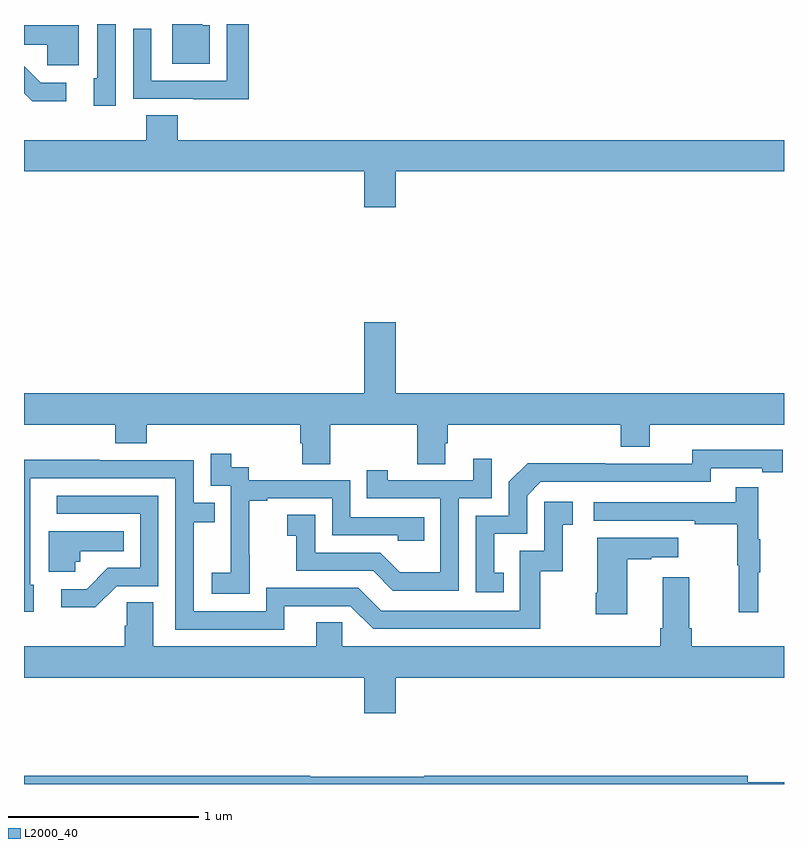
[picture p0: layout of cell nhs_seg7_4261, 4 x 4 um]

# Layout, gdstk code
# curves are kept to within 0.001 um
import gdstk
lib = gdstk.Library(unit=1e-6, precision=1e-09)
def P(c, l, *ps):  # polygons
    for p in ps: c.add(gdstk.Polygon(p, *l))
L2000_40 = (2000, 40)

nhs_seg7_4261 = lib.new_cell('nhs_seg7_4261')
P(nhs_seg7_4261, L2000_40, [(379.482,1060),(379.386,1060),(379.386,1059.714),(379.367,1059.714),(379.367,1059.57),(379.482,1059.57)],
  [(380.183,1060),(380.067,1060),(380.067,1059.702),(379.671,1059.702),(379.671,1059.976),(379.575,1059.976),(379.575,1059.606),(379.891,1059.606),(379.891,1059.605),(380.183,1059.605)],
  [(379.978,1059.994),(379.939,1059.994),(379.939,1060),(379.781,1060),(379.781,1059.791),(379.978,1059.791)],
  [(379.288,1059.994),(379,1059.994),(379,1059.89),(379.123,1059.89),(379.123,1059.782),(379.288,1059.782)],
  [(379.222,1059.69),(379.087,1059.69),(379,1059.777),(379,1059.636),(379.043,1059.593),(379.222,1059.593)],
  [(380.956,1059.224),(383,1059.224),(383,1059.388),(379.808,1059.388),(379.808,1059.521),(379.643,1059.521),(379.643,1059.388),(379,1059.388),(379,1059.224),(380.792,1059.224),(380.792,1059.036),(380.956,1059.036)],
  [(380.613,1057.892),(381.07,1057.892),(381.07,1057.684),(381.217,1057.684),(381.217,1057.794),(381.23,1057.794),(381.23,1057.892),(382.142,1057.892),(382.142,1057.775),(382.294,1057.775),(382.294,1057.892),(383,1057.892),(383,1058.056),(380.956,1058.056),(380.956,1058.431),(380.792,1058.431),(380.792,1058.056),(379,1058.056),(379,1057.892),(379.481,1057.892),(379.481,1057.793),(379.646,1057.793),(379.646,1057.892),(380.453,1057.892),(380.453,1057.794),(380.465,1057.794),(380.465,1057.684),(380.613,1057.684)],
  [(381.524,1057.113),(381.475,1057.113),(381.475,1057.317),(381.648,1057.317),(381.648,1057.518),(381.72,1057.59),(382.614,1057.59),(382.614,1057.662),(382.886,1057.662),(382.886,1057.642),(382.994,1057.642),(382.994,1057.758),(382.518,1057.759),(382.518,1057.686),(382.058,1057.686),(382.058,1057.688),(381.65,1057.688),(381.552,1057.59),(381.552,1057.413),(381.378,1057.413),(381.378,1057.008),(381.524,1057.008)],
  [(380.187,1057.207),(380.186,1057.207),(380.186,1057.491),(380.281,1057.491),(380.281,1057.503),(380.622,1057.503),(380.622,1057.308),(380.967,1057.308),(380.967,1057.281),(381.107,1057.281),(381.107,1057.404),(380.718,1057.404),(380.718,1057.599),(380.184,1057.599),(380.184,1057.668),(380.092,1057.668),(380.092,1057.738),(379.983,1057.738),(379.983,1057.569),(380.088,1057.569),(380.088,1057.34),(380.087,1057.34),(380.087,1057.111),(379.989,1057.111),(379.989,1057.001),(380.187,1057.001)],
  [(381.288,1057.503),(381.462,1057.503),(381.462,1057.711),(381.365,1057.711),(381.365,1057.599),(380.914,1057.599),(380.914,1057.651),(380.803,1057.651),(380.803,1057.503),(381.192,1057.503),(381.192,1057.114),(380.978,1057.114),(380.874,1057.218),(380.532,1057.218),(380.532,1057.417),(380.385,1057.417),(380.385,1057.307),(380.434,1057.307),(380.434,1057.122),(380.837,1057.122),(380.942,1057.017),(381.288,1057.017)],
  [(380.371,1056.936),(380.718,1056.936),(380.838,1056.816),(381.718,1056.816),(381.718,1057.119),(381.836,1057.119),(381.836,1057.365),(381.889,1057.365),(381.889,1057.486),(381.738,1057.486),(381.738,1057.227),(381.609,1057.227),(381.609,1056.912),(380.88,1056.912),(380.76,1057.032),(380.274,1057.032),(380.274,1056.909),(379.893,1056.909),(379.893,1057.378),(380.003,1057.378),(380.003,1057.479),(379.893,1057.479),(379.893,1057.704),(379.397,1057.704),(379.397,1057.706),(379,1057.706),(379,1056.906),(379.051,1056.906),(379.051,1057.05),(379.032,1057.05),(379.033,1057.608),(379.797,1057.608),(379.797,1056.813),(380.371,1056.813)],
  [(382.865,1057.115),(382.876,1057.115),(382.876,1057.289),(382.865,1057.289),(382.865,1057.561),(382.747,1057.561),(382.747,1057.482),(381.999,1057.482),(381.999,1057.386),(382.531,1057.386),(382.531,1057.366),(382.755,1057.366),(382.755,1057.152),(382.762,1057.152),(382.762,1056.903),(382.865,1056.903)],
  [(379.488,1057.041),(379.707,1057.041),(379.707,1057.518),(379.173,1057.518),(379.173,1057.422),(379.611,1057.422),(379.611,1057.137),(379.442,1057.137),(379.331,1057.026),(379.197,1057.026),(379.197,1056.929),(379.375,1056.929)],
  [(379.269,1057.17),(379.296,1057.17),(379.296,1057.226),(379.526,1057.226),(379.526,1057.33),(379.13,1057.33),(379.13,1057.118),(379.269,1057.118)],
  [(382.174,1057.183),(382.301,1057.183),(382.301,1057.193),(382.444,1057.193),(382.444,1057.297),(382.016,1057.297),(382.016,1057.006),(382.009,1057.006),(382.009,1056.894),(382.174,1056.894)],
  [(380.956,1056.56),(383,1056.56),(383,1056.724),(382.514,1056.724),(382.514,1056.82),(382.501,1056.82),(382.501,1057.087),(382.361,1057.087),(382.361,1056.82),(382.349,1056.82),(382.349,1056.724),(380.676,1056.724),(380.676,1056.851),(380.537,1056.851),(380.537,1056.724),(379.681,1056.724),(379.681,1056.956),(379.542,1056.956),(379.542,1056.833),(379.529,1056.833),(379.529,1056.724),(379,1056.724),(379,1056.56),(380.792,1056.56),(380.792,1056.372),(380.956,1056.372)],
  [(383,1056.008),(382.81,1056.008),(382.81,1056.044),(381.106,1056.044),(381.106,1056.037),(380.506,1056.037),(380.506,1056.044),(379,1056.044),(379,1056),(383,1056)])

lib.write_gds('nhs_seg7_4261.gds')
